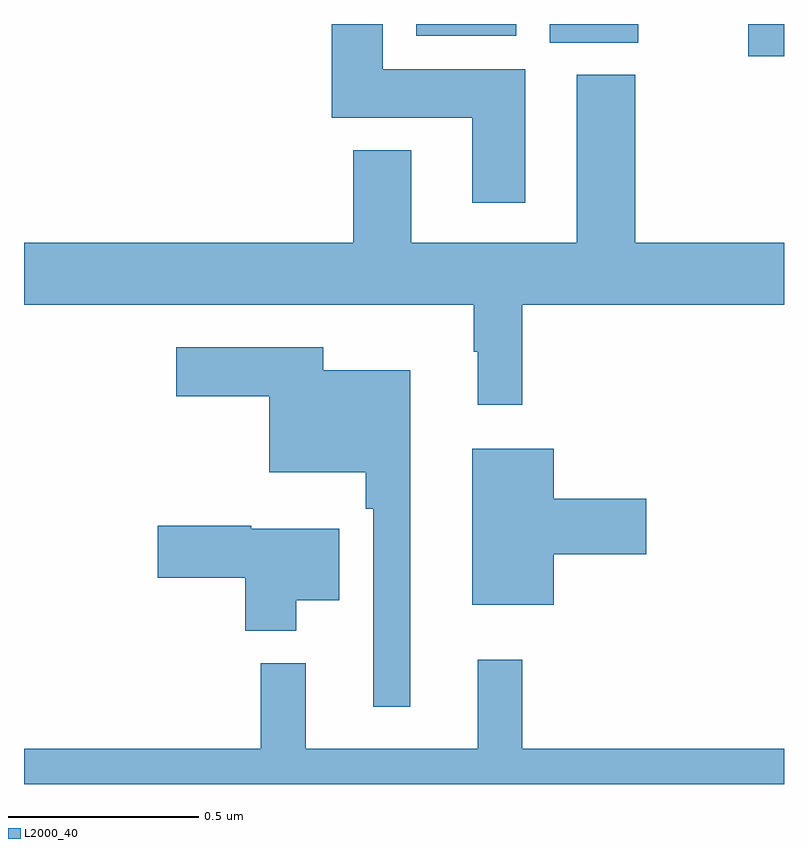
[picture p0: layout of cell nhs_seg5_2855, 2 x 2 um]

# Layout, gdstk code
import gdstk
lib = gdstk.Library(unit=1e-6, precision=1e-09)
def R(c, l, rs):  # rectangles x0, y0, x1, y1
    for r in rs: c.add(gdstk.rectangle(r[:2], r[2:], *l))
def P(c, l, *ps):  # polygons
    for p in ps: c.add(gdstk.Polygon(p, *l))
L2000_40 = (2000, 40)

nhs_seg5_2855 = lib.new_cell('nhs_seg5_2855')
R(nhs_seg5_2855, L2000_40, [(150.906,890.714,151,890.799), (150.383,890.75,150.616,890.799), (150.032,890.768,150.295,890.799)])
P(nhs_seg5_2855, L2000_40, [(150.319,890.68),(149.944,890.68),(149.944,890.799),(149.81,890.799),(149.81,890.552),(150.179,890.552),(150.179,890.328),(150.319,890.328)],
  [(150.311,890.06),(151,890.06),(151,890.224),(150.608,890.224),(150.608,890.665),(150.455,890.665),(150.455,890.224),(150.019,890.224),(150.019,890.467),(149.867,890.467),(149.867,890.224),(149,890.224),(149,890.06),(150.183,890.06),(150.183,889.937),(150.194,889.937),(150.194,889.797),(150.311,889.797)],
  [(150.016,889.888),(149.788,889.888),(149.788,889.948),(149.4,889.948),(149.4,889.819),(149.645,889.819),(149.645,889.619),(149.899,889.619),(149.899,889.523),(149.919,889.523),(149.919,889.002),(150.016,889.002)],
  [(150.394,889.403),(150.637,889.403),(150.637,889.55),(150.394,889.55),(150.394,889.681),(150.179,889.681),(150.179,889.271),(150.394,889.271)],
  [(149.716,889.283),(149.83,889.283),(149.83,889.471),(149.598,889.471),(149.598,889.479),(149.352,889.479),(149.352,889.342),(149.582,889.342),(149.582,889.202),(149.716,889.202)],
  [(151,888.892),(150.311,888.892),(150.311,889.126),(150.194,889.126),(150.194,888.892),(149.741,888.892),(149.741,889.117),(149.623,889.117),(149.623,888.892),(149,888.892),(149,888.799),(151,888.799)])

lib.write_gds('nhs_seg5_2855.gds')
